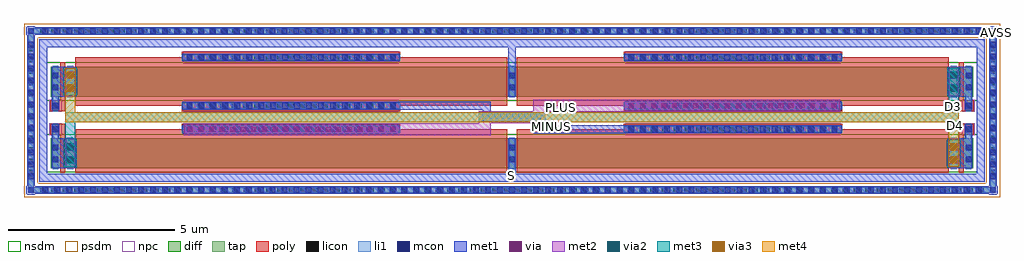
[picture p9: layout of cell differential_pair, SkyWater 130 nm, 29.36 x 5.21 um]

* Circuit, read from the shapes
.subckt differential_pair AVSS D3 D4 MINUS PLUS S
XM1 D3 D3 D3 AVSS sky130_fd_pr__nfet_01v8 w=0.9 l=0.15 m=2
XM2 D4 D4 D4 AVSS sky130_fd_pr__nfet_01v8 w=0.9 l=0.15 m=2
XM3 S PLUS D3 AVSS sky130_fd_pr__nfet_01v8 w=0.9 l=13 m=2
XM4 S MINUS D4 AVSS sky130_fd_pr__nfet_01v8 w=0.9 l=13 m=2
.ends

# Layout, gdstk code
import gdstk
lib = gdstk.Library(unit=1e-6, precision=1e-09)
def R(c, l, rs):  # rectangles x0, y0, x1, y1
    for r in rs: c.add(gdstk.rectangle(r[:2], r[2:], *l))
def A(c, l, x, y, w, h, nx, ny, dx, dy):  # array of equal rectangles
    R(c, l, [(x+i*dx, y+j*dy, x+i*dx+w, y+j*dy+h) for i in range(nx) for j in range(ny)])
diff = (65, 20)
tap = (65, 44)
poly = (66, 20)
licon = (66, 44)
li1 = (67, 20)
mcon = (67, 44)
met1 = (68, 20)
via = (68, 44)
met2 = (69, 20)
via2 = (69, 44)
met3 = (70, 20)
via3 = (70, 44)
met4 = (71, 20)
nsdm = (93, 44)
psdm = (94, 20)
npc = (95, 20)

sky130_fd_pr__nfet_01v8_ = lib.new_cell('sky130_fd_pr__nfet_01v8_G26DVX')
R(sky130_fd_pr__nfet_01v8_, diff, [(-13.435,-0.45,13.435,0.45)])
R(sky130_fd_pr__nfet_01v8_, poly, [(-9.935,-0.89,-3.355,-0.725), (3.355,-0.89,9.935,-0.725), (-13.145,-0.725,-0.145,0.725), (0.145,-0.725,13.145,0.725), (-9.935,0.725,-3.355,0.89), (3.355,0.725,9.935,0.89)])
A(sky130_fd_pr__nfet_01v8_, licon, -9.79, -0.81, 0.17, 0.17, 19, 2, 0.34, 1.45)
A(sky130_fd_pr__nfet_01v8_, licon, 3.5, -0.81, 0.17, 0.17, 19, 2, 0.34, 1.45)
A(sky130_fd_pr__nfet_01v8_, licon, -13.375, -0.255, 0.17, 0.17, 3, 2, 13.29, 0.34)
A(sky130_fd_pr__nfet_01v8_, li1, -13.375, -0.47, 0.17, 0.94, 3, 1, 13.29, 0)
R(sky130_fd_pr__nfet_01v8_, li1, [(-9.935,-0.81,-3.355,-0.64), (3.355,-0.81,9.935,-0.64), (-9.935,0.64,-3.355,0.81), (3.355,0.64,9.935,0.81)])
A(sky130_fd_pr__nfet_01v8_, mcon, -9.79, -0.81, 0.17, 0.17, 18, 2, 0.36, 1.45)
A(sky130_fd_pr__nfet_01v8_, mcon, 3.5, -0.81, 0.17, 0.17, 18, 2, 0.36, 1.45)
A(sky130_fd_pr__nfet_01v8_, mcon, -13.375, -0.265, 0.17, 0.17, 3, 2, 13.29, 0.36)
A(sky130_fd_pr__nfet_01v8_, met1, -13.405, -0.45, 0.23, 0.9, 3, 1, 13.29, 0)
R(sky130_fd_pr__nfet_01v8_, met1, [(-9.915,-0.84,-3.375,-0.61), (3.375,-0.84,9.915,-0.61), (-9.915,0.61,-3.375,0.84), (3.375,0.61,9.915,0.84)])
R(sky130_fd_pr__nfet_01v8_, nsdm, [(-13.56,-0.575,13.56,0.575)])
R(sky130_fd_pr__nfet_01v8_, npc, [(-9.89,-0.91,-3.4,-0.54), (3.4,-0.91,9.89,-0.54), (-9.89,0.54,-3.4,0.91), (3.4,0.54,9.89,0.91)])

c_sky130_fd_pr__nfet_01v8_ = lib.new_cell('sky130_fd_pr__nfet_01v8_7RJ44K')
R(c_sky130_fd_pr__nfet_01v8_, diff, [(-13.435,-0.605,13.435,0.295)])
R(c_sky130_fd_pr__nfet_01v8_, poly, [(-13.145,-0.735,-0.145,0.57), (0.145,-0.735,13.145,0.57), (-9.935,0.57,-3.355,0.735), (3.355,0.57,9.935,0.735)])
A(c_sky130_fd_pr__nfet_01v8_, licon, -13.375, -0.41, 0.17, 0.17, 3, 2, 13.29, 0.34)
A(c_sky130_fd_pr__nfet_01v8_, licon, -9.79, 0.485, 0.17, 0.17, 19, 1, 0.34, 0)
A(c_sky130_fd_pr__nfet_01v8_, licon, 3.5, 0.485, 0.17, 0.17, 19, 1, 0.34, 0)
A(c_sky130_fd_pr__nfet_01v8_, li1, -13.375, -0.625, 0.17, 0.94, 3, 1, 13.29, 0)
R(c_sky130_fd_pr__nfet_01v8_, li1, [(-9.935,0.485,-3.355,0.655), (3.355,0.485,9.935,0.655)])
A(c_sky130_fd_pr__nfet_01v8_, mcon, -13.375, -0.42, 0.17, 0.17, 3, 2, 13.29, 0.36)
A(c_sky130_fd_pr__nfet_01v8_, mcon, -9.79, 0.485, 0.17, 0.17, 18, 1, 0.36, 0)
A(c_sky130_fd_pr__nfet_01v8_, mcon, 3.5, 0.485, 0.17, 0.17, 18, 1, 0.36, 0)
A(c_sky130_fd_pr__nfet_01v8_, met1, -13.405, -0.605, 0.23, 0.9, 3, 1, 13.29, 0)
R(c_sky130_fd_pr__nfet_01v8_, met1, [(-9.915,0.455,-3.375,0.685), (3.375,0.455,9.915,0.685)])
R(c_sky130_fd_pr__nfet_01v8_, nsdm, [(-13.56,-0.73,13.56,0.42)])
R(c_sky130_fd_pr__nfet_01v8_, npc, [(-9.89,0.385,-3.4,0.755), (3.4,0.385,9.89,0.755)])

c_sky130_fd_pr__nfet_01v8__ = lib.new_cell('sky130_fd_pr__nfet_01v8_2A7GYR')
R(c_sky130_fd_pr__nfet_01v8__, diff, [(-0.365,-0.45,0.365,0.45)])
R(c_sky130_fd_pr__nfet_01v8__, poly, [(-0.075,-0.58,0.075,0.58)])
R(c_sky130_fd_pr__nfet_01v8__, licon, [(-0.305,-0.255,-0.135,-0.085), (0.135,-0.255,0.305,-0.085), (-0.305,0.085,-0.135,0.255), (0.135,0.085,0.305,0.255)])
R(c_sky130_fd_pr__nfet_01v8__, li1, [(-0.305,-0.47,-0.135,0.47), (0.135,-0.47,0.305,0.47)])
R(c_sky130_fd_pr__nfet_01v8__, mcon, [(-0.305,-0.265,-0.135,-0.095), (0.135,-0.265,0.305,-0.095), (-0.305,0.095,-0.135,0.265), (0.135,0.095,0.305,0.265)])
R(c_sky130_fd_pr__nfet_01v8__, met1, [(-0.335,-0.45,-0.105,0.45), (0.105,-0.45,0.335,0.45)])
R(c_sky130_fd_pr__nfet_01v8__, nsdm, [(-0.49,-0.575,0.49,0.575)])

differential_pair = lib.new_cell('differential_pair')
R(differential_pair, tap, [(-2.97,-0.56,26.14,-0.39), (-2.97,-0.39,-2.8,4.23), (25.97,-0.39,26.14,4.23), (-2.97,4.23,26.14,4.4)])
R(differential_pair, poly, [(-2.31,1.19,-1.85,1.52), (25.02,1.19,25.48,1.52), (-2.31,1.9,-1.85,2.23), (25.02,1.9,25.48,2.23)])
A(differential_pair, licon, -2.61, -0.56, 0.17, 0.17, 84, 2, 0.34, 4.79)
A(differential_pair, licon, -2.97, -0.035, 0.17, 0.17, 1, 12, 0, 0.34)
A(differential_pair, licon, 25.97, -0.035, 0.17, 0.17, 1, 12, 0, 0.34)
R(differential_pair, licon, [(-2.23,1.27,-2.06,1.44), (25.23,1.27,25.4,1.44), (-2.23,1.98,-2.06,2.15), (25.23,1.98,25.4,2.15)])
R(differential_pair, li1, [(-2.97,-0.56,26.14,-0.39), (-2.97,-0.39,-2.8,4.23), (25.97,-0.39,26.14,4.23), (-2.23,1.07,-2.06,1.52), (25.23,1.07,25.4,1.52), (-2.23,1.9,-2.06,2.35), (25.23,1.9,25.4,2.35), (-2.97,4.23,26.14,4.4)])
A(differential_pair, mcon, -2.54, -0.56, 0.17, 0.17, 79, 2, 0.36, 4.79)
A(differential_pair, mcon, -2.97, -0.145, 0.17, 0.17, 1, 12, 0, 0.36)
A(differential_pair, mcon, 25.97, -0.145, 0.17, 0.17, 1, 12, 0, 0.36)
R(differential_pair, mcon, [(-2.97,-0.56,-2.8,-0.39), (25.97,-0.56,26.14,-0.39), (-2.23,1.27,-2.06,1.44), (25.23,1.27,25.4,1.44), (-2.23,1.98,-2.06,2.15), (25.23,1.98,25.4,2.15), (-2.97,4.23,-2.8,4.4), (25.97,4.23,26.14,4.4)])
R(differential_pair, met1, [(-3,-0.62,-2.77,-0.59), (25.94,-0.62,26.17,-0.59), (-3.03,-0.59,26.2,-0.36), (-3,-0.36,-2.77,4.2), (25.94,-0.36,26.17,4.2), (-2.63,-0.22,25.8,0.01), (-2.63,0.01,-2.4,3.83), (11.47,0.01,11.7,0.36), (25.57,0.01,25.8,3.83), (-2.26,0.18,-1.525,1.08), (24.695,0.18,25.43,1.08), (-2.26,1.08,-2.03,1.5), (25.2,1.08,25.43,1.5), (1.68,1.225,8.2,1.485), (12.23,1.24,15.11,1.47), (12.23,1.47,12.46,1.595), (10.71,1.595,12.46,1.825), (10.71,1.825,10.94,1.95), (-2.26,1.92,-2.03,2.34), (25.2,1.92,25.43,2.34), (14.97,1.935,21.49,2.195), (8,1.95,10.94,2.18), (-2.26,2.34,-1.525,3.24), (24.695,2.34,25.43,3.24), (11.47,3.15,11.7,3.83), (-2.63,3.83,25.8,4.06), (-3.03,4.2,26.2,4.43), (-3,4.43,-2.77,4.46), (25.94,4.43,26.17,4.46)])
A(differential_pair, via, 1.825, 1.28, 0.15, 0.15, 20, 1, 0.32, 0)
A(differential_pair, via, 15.115, 1.99, 0.15, 0.15, 20, 1, 0.32, 0)
R(differential_pair, via, [(-1.78,0.395,-1.63,0.545), (24.8,0.395,24.95,0.545), (-1.78,0.715,-1.63,0.865), (24.8,0.715,24.95,0.865), (-1.78,2.555,-1.63,2.705), (24.8,2.555,24.95,2.705), (-1.78,2.875,-1.63,3.025), (24.8,2.875,24.95,3.025)])
R(differential_pair, met2, [(-1.845,0.19,-1.565,1.07), (24.735,0.19,25.015,1.07), (1.73,1.175,10.94,1.53), (1.73,1.53,12.59,1.535), (10.58,1.535,12.59,1.885), (10.58,1.885,21.44,1.89), (12.23,1.89,21.44,2.245), (-1.845,2.35,-1.565,3.23), (24.735,2.35,25.015,3.23)])
R(differential_pair, via2, [(-1.805,0.33,-1.605,0.53), (24.775,0.33,24.975,0.53), (-1.805,0.73,-1.605,0.93), (24.775,0.73,24.975,0.93), (-1.805,2.49,-1.605,2.69), (24.775,2.49,24.975,2.69), (-1.805,2.89,-1.605,3.09), (24.775,2.89,24.975,3.09)])
R(differential_pair, met3, [(-1.895,0.215,-1.515,1.045), (24.685,0.215,25.065,0.24), (24.665,0.24,25.085,1.02), (24.685,1.02,25.065,1.045), (-1.855,1.045,-1.555,1.56), (-1.855,1.56,25.025,1.86), (24.725,1.86,25.025,2.375), (-1.895,2.375,-1.515,2.4), (24.685,2.375,25.065,3.205), (-1.915,2.4,-1.495,3.18), (-1.895,3.18,-1.515,3.205)])
R(differential_pair, via3, [(24.775,0.33,24.975,0.53), (24.775,0.73,24.975,0.93), (-1.805,2.49,-1.605,2.69), (-1.805,2.89,-1.605,3.09)])
R(differential_pair, met4, [(24.71,0.235,25.04,1.025), (24.725,1.025,25.025,1.56), (-1.855,1.56,25.025,1.86), (-1.855,1.86,-1.555,2.395), (-1.87,2.395,-1.54,3.185)])
R(differential_pair, psdm, [(-3.095,-0.685,26.265,-0.265), (-3.095,-0.265,-2.675,4.105), (25.845,-0.265,26.265,4.105), (-3.095,4.105,26.265,4.525)])
R(differential_pair, npc, [(-2.33,1.17,-1.96,1.54), (25.13,1.17,25.5,1.54), (-2.33,1.88,-1.96,2.25), (25.13,1.88,25.5,2.25)])
differential_pair.add(gdstk.Reference(sky130_fd_pr__nfet_01v8_, (11.585,2.79), x_reflection=True))
differential_pair.add(gdstk.Reference(c_sky130_fd_pr__nfet_01v8_, (11.585,0.785)))
differential_pair.add(gdstk.Reference(c_sky130_fd_pr__nfet_01v8__, (-1.925,0.63)))
differential_pair.add(gdstk.Reference(c_sky130_fd_pr__nfet_01v8__, (25.095,0.63)))
differential_pair.add(gdstk.Reference(c_sky130_fd_pr__nfet_01v8__, (-1.925,2.79)))
differential_pair.add(gdstk.Reference(c_sky130_fd_pr__nfet_01v8__, (25.095,2.79)))
differential_pair.add(gdstk.Label('AVSS', (26.155,4.265), layer=68, texttype=5))
differential_pair.add(gdstk.Label('S', (11.58,-0.05), layer=68, texttype=5))
differential_pair.add(gdstk.Label('PLUS', (13.065,2.005), layer=69, texttype=5))
differential_pair.add(gdstk.Label('MINUS', (12.78,1.425), layer=68, texttype=5))
differential_pair.add(gdstk.Label('D3', (24.865,2.03), layer=70, texttype=5))
differential_pair.add(gdstk.Label('D4', (24.92,1.465), layer=71, texttype=5))

lib.write_gds('differential_pair.gds')
